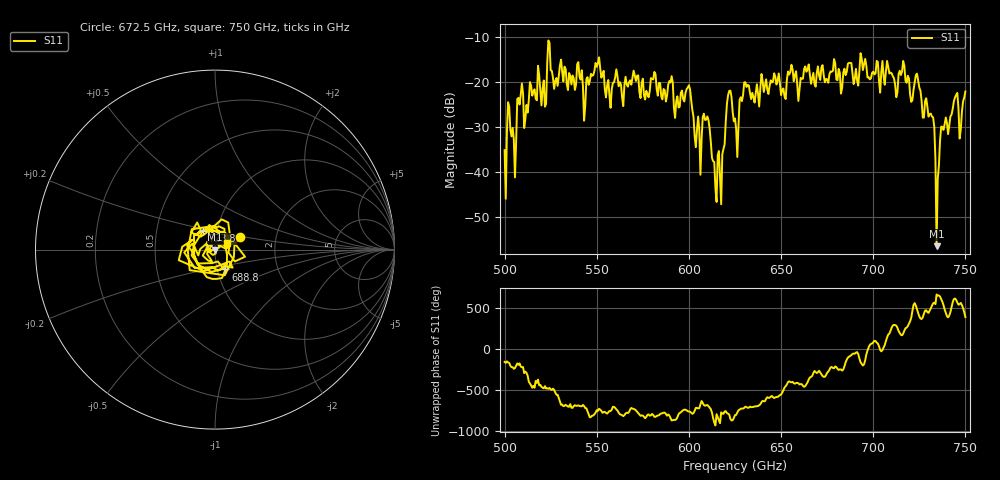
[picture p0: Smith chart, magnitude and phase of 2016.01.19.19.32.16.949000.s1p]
!Created with skrf (http://scikit-rf.org).
# GHz S RI R 50.0
!freq ReS11 ImS11
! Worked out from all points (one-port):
!   401 points, 500 GHz to 750 GHz, reference 50 ohm
!   lowest |S11| = -56.5 dB at 734.4 GHz (marker M1), VSWR 1.00, Z = 50.1 - j0.124 ohm
!   |S11| at or under -10 dB: start of sweep to end of sweep
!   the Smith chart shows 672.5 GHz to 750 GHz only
!   S11 on the Smith chart (normalised r, x): 672.5 GHz: 1.30, +0.19; 688.8 GHz: 1.09, -0.25; 723.8 GHz: 0.86, +0.18; 750 GHz: 1.15, +0.08
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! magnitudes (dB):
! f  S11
! 500 GHz  -35.1
! 502.5 GHz  -25.4
! 505 GHz  -32.8
! 508.1 GHz  -25.0
! 511.9 GHz  -25.1
! 521.2 GHz  -19.6
! 524.4 GHz  -11.2
! 531.2 GHz  -17.7
! 562.5 GHz  -20.0
! 590 GHz  -20.1
! 593.8 GHz  -23.2
! 600 GHz  -20.7
! 605 GHz  -27.7
! 609.4 GHz  -28.4
! 616.2 GHz  -35.3
! 621.9 GHz  -22.0
! 625 GHz  -28.1
! 631.2 GHz  -21.1
! 656.2 GHz  -17.1
! 672.5 GHz  -16.2
! 687.5 GHz  -15.7
! 688.8 GHz  -18.1
! 718.8 GHz  -18.6
! 723.8 GHz  -18.1
! 731.9 GHz  -27.7
! 734.4 GHz  -56.5
! 738.1 GHz  -30.6
! 750 GHz  -22.1
